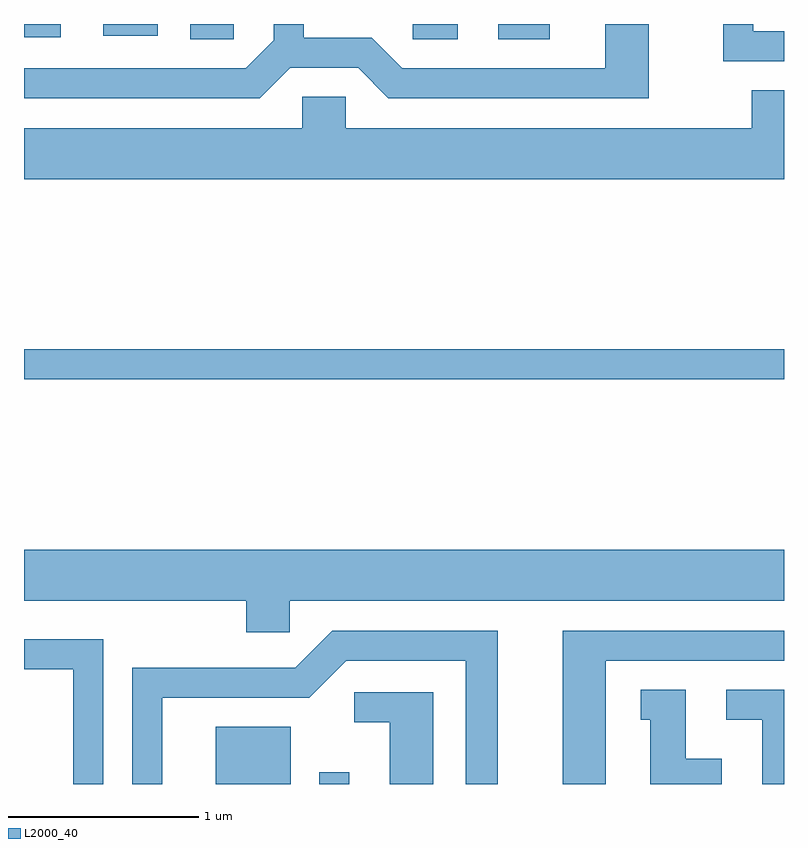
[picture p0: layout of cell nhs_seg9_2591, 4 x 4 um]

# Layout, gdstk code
import gdstk
lib = gdstk.Library(unit=1e-6, precision=1e-09)
def R(c, l, rs):  # rectangles x0, y0, x1, y1
    for r in rs: c.add(gdstk.rectangle(r[:2], r[2:], *l))
def P(c, l, *ps):  # polygons
    for p in ps: c.add(gdstk.Polygon(p, *l))
L2000_40 = (2000, 40)

nhs_seg9_2591 = lib.new_cell('nhs_seg9_2591')
R(nhs_seg9_2591, L2000_40, [(262.621,1966.432,263.014,1966.734), (263.166,1966.432,263.324,1966.493), (261.611,1968.561,265.611,1968.719), (262.486,1970.351,262.714,1970.432), (263.658,1970.351,263.894,1970.432), (264.108,1970.351,264.379,1970.432), (261.611,1970.361,261.804,1970.432), (262.028,1970.371,262.314,1970.432)])
P(nhs_seg9_2591, L2000_40, [(265.611,1970.394),(265.449,1970.394),(265.449,1970.432),(265.291,1970.432),(265.291,1970.236),(265.611,1970.236)],
  [(263.012,1970.201),(263.369,1970.201),(263.529,1970.041),(264.899,1970.041),(264.899,1970.432),(264.671,1970.432),(264.671,1970.199),(263.602,1970.199),(263.442,1970.359),(263.084,1970.359),(263.084,1970.432),(262.926,1970.432),(262.926,1970.347),(262.779,1970.199),(261.611,1970.199),(261.611,1970.041),(262.852,1970.041)],
  [(265.611,1970.084),(265.441,1970.084),(265.441,1969.884),(263.304,1969.884),(263.304,1970.049),(263.076,1970.049),(263.076,1969.884),(261.611,1969.884),(261.611,1969.616),(265.611,1969.616)],
  [(263.009,1967.396),(265.611,1967.396),(265.611,1967.664),(261.611,1967.664),(261.611,1967.396),(262.781,1967.396),(262.781,1967.231),(263.009,1967.231)],
  [(264.674,1967.081),(265.611,1967.081),(265.611,1967.239),(264.446,1967.239),(264.446,1966.432),(264.674,1966.432)],
  [(262.339,1966.886),(263.112,1966.886),(263.307,1967.081),(263.936,1967.081),(263.936,1966.432),(264.104,1966.432),(264.104,1967.239),(263.234,1967.239),(263.039,1967.044),(262.181,1967.044),(262.181,1966.432),(262.339,1966.432)],
  [(262.029,1967.194),(261.611,1967.194),(261.611,1967.036),(261.871,1967.036),(261.871,1966.432),(262.029,1966.432)],
  [(265.284,1966.564),(265.094,1966.564),(265.094,1966.929),(264.858,1966.929),(264.858,1966.771),(264.906,1966.771),(264.906,1966.432),(265.284,1966.432)],
  [(265.611,1966.929),(265.308,1966.929),(265.308,1966.771),(265.496,1966.771),(265.496,1966.432),(265.611,1966.432)],
  [(263.764,1966.914),(263.348,1966.914),(263.348,1966.756),(263.536,1966.756),(263.536,1966.432),(263.764,1966.432)])

lib.write_gds('nhs_seg9_2591.gds')
